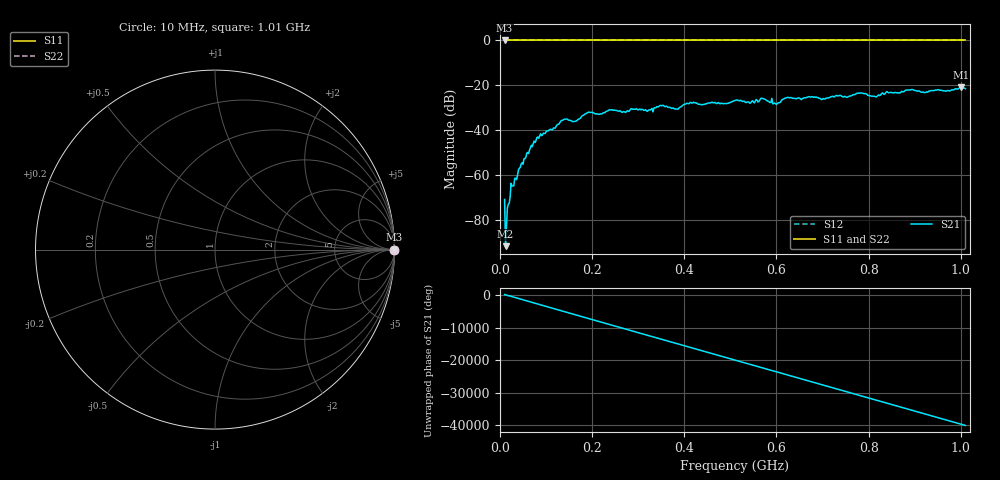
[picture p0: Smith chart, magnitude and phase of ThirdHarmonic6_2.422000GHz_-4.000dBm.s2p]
! 8/17/2025 4:08:06 AM
! C:\ANRITSUVNA\TEMP\TEMP.S2P
! CHANNEL.1
! TR.MEASUREMENT
! RAW.DATA
! RF.CORRECTION.OFF
! AVERAGING.OFF
! IF.BANDWIDTH: 5KHZ
! SWEEPTYPE:  FREQ.SWEEP(Linear)
! Reference Plane Port Info
! PORT:  PORT1  PORT2
! DISTANCE:  0  m  0  m
! TIME:  0  s  0  s
! PHASE.OFFSET:  0  deg.  0  deg.
! LOSS:  0  dB  0  dB
! REF.LOSS:  0  dB  0  dB
! REF.FREQ:  0  Hz  0  Hz
! Power Info
! POWER:  -20  dBm  -20  dBm
! EFF.POWER:  -20  dBm  -20  dBm
! SOURCE.ATTEN:  0  dB  0  dB
! TEST.ATTEN:  0  dB  0  dB
# GHZ S RI R 50.0
! FREQ.GHZ  S11RE  S11IM  S21RE  S21IM  S12RE  S12IM  S22RE  S22IM
!; PortSelection: Port_12
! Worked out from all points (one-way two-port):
!   501 points, 10 MHz to 1.01 GHz, reference 50 ohm
!   highest |S21| = -20.99 dB at 1 GHz (marker M1); lowest = -91.8 dB at 12 MHz (marker M2)
!   lowest |S11| = 0.0 dB at 10 MHz (marker M3)
!   |S11| at or under -10 dB: nowhere
!   |S22| runs from 0.0 to 0.0 dB; largest |S21 - S12| = 1.1
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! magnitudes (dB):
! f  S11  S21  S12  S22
! 10 MHz  0.0  -71.0  0.0  0.0
! 12 MHz  0.0  -91.8  0.0  0.0
! 16 MHz  0.0  -74.8  0.0  0.0
! 28 MHz  0.0  -64.9  0.0  0.0
! 44 MHz  0.0  -56.7  0.0  0.0
! 78 MHz  0.0  -44.7  0.0  0.0
! 136 MHz  0.0  -35.7  0.0  0.0
! 162 MHz  0.0  -36.1  0.0  0.0
! 178 MHz  0.0  -33.7  0.0  0.0
! 344 MHz  0.0  -29.6  0.0  0.0
! 384 MHz  0.0  -30.6  0.0  0.0
! 416 MHz  0.0  -27.9  0.0  0.0
! 510 MHz  0.0  -26.7  0.0  0.0
! 570 MHz  0.0  -25.9  0.0  0.0
! 596 MHz  0.0  -27.9  0.0  0.0
! 622 MHz  0.0  -25.5  0.0  0.0
! 678 MHz  0.0  -25.1  0.0  0.0
! 780 MHz  0.0  -23.5  0.0  0.0
! 814 MHz  0.0  -25.1  0.0  0.0
! 844 MHz  0.0  -23.4  0.0  0.0
! 1 GHz  0.0  -21.0  0.0  0.0
! 1.01 GHz  0.0  -21.5  0.0  0.0
